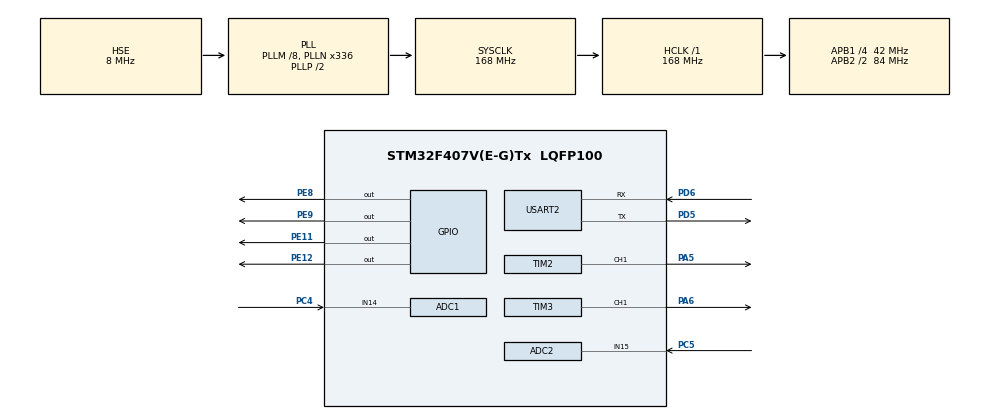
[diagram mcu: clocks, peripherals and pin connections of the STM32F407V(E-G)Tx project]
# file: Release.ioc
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ADC1.Channel-0\#ChannelRegularConversion=ADC_CHANNEL_14
ADC1.NbrOfConversionFlag=1
ADC1.Rank-0\#ChannelRegularConversion=1
ADC1.SamplingTime-0\#ChannelRegularConversion=ADC_SAMPLETIME_3CYCLES
ADC1.master=1
ADC2.Channel-0\#ChannelRegularConversion=ADC_CHANNEL_15
ADC2.NbrOfConversionFlag=1
ADC2.Rank-0\#ChannelRegularConversion=1
ADC2.SamplingTime-0\#ChannelRegularConversion=ADC_SAMPLETIME_3CYCLES
Mcu.Family=STM32F4
Mcu.Name=STM32F407V(E-G)Tx
Mcu.Package=LQFP100
NVIC.ADC_IRQn=true\:0\:0\:false\:false\:true\:true\:true\:true
NVIC.PriorityGroup=NVIC_PRIORITYGROUP_4
NVIC.TIM2_IRQn=true\:0\:0\:false\:false\:true\:true\:true\:true
NVIC.TIM3_IRQn=true\:0\:0\:false\:false\:true\:true\:true\:true
NVIC.USART2_IRQn=true\:0\:0\:false\:false\:true\:true\:true\:true
PA5.Signal=S_TIM2_CH1_ETR
PA6.Signal=S_TIM3_CH1
PC4.Signal=ADCx_IN14
PC5.Signal=ADCx_IN15
PD5.Mode=Asynchronous
PD5.Signal=USART2_TX
PD6.Mode=Asynchronous
PD6.Signal=USART2_RX
PE11.GPIO_Speed=GPIO_SPEED_FREQ_VERY_HIGH
PE11.PinState=GPIO_PIN_SET
PE11.Signal=GPIO_Output
PE12.GPIO_Speed=GPIO_SPEED_FREQ_VERY_HIGH
PE12.PinState=GPIO_PIN_SET
PE12.Signal=GPIO_Output
PE8.GPIO_Speed=GPIO_SPEED_FREQ_VERY_HIGH
PE8.PinState=GPIO_PIN_SET
PE8.Signal=GPIO_Output
PE9.GPIO_Speed=GPIO_SPEED_FREQ_VERY_HIGH
PE9.PinState=GPIO_PIN_SET
PE9.Signal=GPIO_Output
PH0-OSC_IN.Mode=HSE-External-Oscillator
PH0-OSC_IN.Signal=RCC_OSC_IN
PH1-OSC_OUT.Mode=HSE-External-Oscillator
PH1-OSC_OUT.Signal=RCC_OSC_OUT
ProjectManager.HeapSize=0x200
ProjectManager.StackSize=0x400
ProjectManager.TargetToolchain=STM32CubeIDE
RCC.48MHZClocksFreq_Value=84000000
RCC.AHBFreq_Value=168000000
RCC.APB1CLKDivider=RCC_HCLK_DIV4
RCC.APB1Freq_Value=42000000
RCC.APB1TimFreq_Value=84000000
RCC.APB2CLKDivider=RCC_HCLK_DIV2
RCC.APB2Freq_Value=84000000
RCC.APB2TimFreq_Value=168000000
RCC.CortexFreq_Value=168000000
RCC.HCLKFreq_Value=168000000
RCC.HSE_VALUE=8000000
RCC.HSI_VALUE=16000000
RCC.LSE_VALUE=32768
RCC.PLLM=8
RCC.PLLN=336
RCC.PLLSourceVirtual=RCC_PLLSOURCE_HSE
RCC.SYSCLKFreq_VALUE=168000000
RCC.SYSCLKSource=RCC_SYSCLKSOURCE_PLLCLK
RCC.VCOOutputFreq_Value=336000000
SH.ADCx_IN14.0=ADC1_IN14,IN14
SH.ADCx_IN15.0=ADC2_IN15,IN15
SH.S_TIM2_CH1_ETR.0=TIM2_CH1,PWM Generation1 CH1
SH.S_TIM3_CH1.0=TIM3_CH1,PWM Generation1 CH1
TIM2.AutoReloadPreload=TIM_AUTORELOAD_PRELOAD_ENABLE
TIM2.Channel-PWM\ Generation1\ CH1=TIM_CHANNEL_1
TIM2.Period=999
TIM2.Prescaler=999
TIM2.Pulse-PWM\ Generation1\ CH1=500
TIM3.AutoReloadPreload=TIM_AUTORELOAD_PRELOAD_ENABLE
TIM3.Channel-PWM\ Generation1\ CH1=TIM_CHANNEL_1
TIM3.Period=999
TIM3.Prescaler=1
TIM3.Pulse-PWM\ Generation1\ CH1=500
USART2.VirtualMode=VM_ASYNC
board=custom

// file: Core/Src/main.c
/* USER CODE BEGIN Header */
/**
  ******************************************************************************
  * @file           : main.c
  * @brief          : Main program body
  ******************************************************************************
  * @attention
  *
  * Copyright (c) 2025 STMicroelectronics.
  * All rights reserved.
  *
  * This software is licensed under terms that can be found in the LICENSE file
  * in the root directory of this software component.
  * If no LICENSE file comes with this software, it is provided AS-IS.
  *
  ******************************************************************************
  */
/* USER CODE END Header */
#include "main.h"

/* USER CODE BEGIN Includes */
#include <stdbool.h>
/* USER CODE END Includes */

/* USER CODE BEGIN PD */
#define Left GPIO_PIN_SET
#define Right GPIO_PIN_RESET

#define Up GPIO_PIN_SET
#define Down GPIO_PIN_RESET

#define Work GPIO_PIN_RESET
#define Sleep GPIO_PIN_SET
/* USER CODE END PD */

ADC_HandleTypeDef hadc1;
ADC_HandleTypeDef hadc2;

TIM_HandleTypeDef htim2;
TIM_HandleTypeDef htim3;

UART_HandleTypeDef huart2;

/* USER CODE BEGIN PV */
char rx_data[23], tx_data[14];

float def_az, def_el;
float angullar_az, angullar_el;

unsigned int raw_az, raw_el;
unsigned int Frequency_az, Frequency_el;

unsigned char Moving_az, Moving_el;

Motor Motor_AZ, Motor_EL;

Target_data Target;

size_t Size_Rx_UART;
size_t Size_Tx_UART;
/* USER CODE END PV */

void SystemClock_Config(void);
static void MX_GPIO_Init(void);
static void MX_ADC1_Init(void);
static void MX_ADC2_Init(void);
static void MX_USART2_UART_Init(void);
static void MX_TIM2_Init(void);
static void MX_TIM3_Init(void);

/* USER CODE BEGIN 0 */
void HAL_UART_RxCpltCallback(UART_HandleTypeDef *huart) // 0.595 мкс
{
    if (Target.Rx_data[19] != '\0')
    {
        HAL_UART_Receive_IT(&huart2, (uint8_t*)Target.Rx_data, Size_Rx_UART);
        return;
    };

    Motor_AZ.Status.Angular =
        (Target.Rx_data[3] - '0') * 100 +  // сотни
        (Target.Rx_data[4] - '0') * 10 +   // десятки
        (Target.Rx_data[5] - '0') +        // единицы
        (Target.Rx_data[6] - '0') * 0.1f;  // десятые
    if (Target.Rx_data[2] == '-') Motor_AZ.Status.Angular *= -1;

    Motor_EL.Status.Angular =
        (Target.Rx_data[10] - '0') * 100 +
        (Target.Rx_data[11] - '0') * 10 +
        (Target.Rx_data[12] - '0') +
        (Target.Rx_data[14] - '0') * 0.1f;
    if (Target.Rx_data[9] == '-') Motor_EL.Status.Angular *= -1;

    HAL_UART_Receive_IT(&huart2, (uint8_t*)Target.Rx_data, Size_Rx_UART);
}

void Read_AD_Conversion(Motor *Motor_xx) // 2.02 мкс
{
	ADC_HandleTypeDef* hadc = Motor_xx->Config.Convertor.Convertor;
	Status* status = &Motor_xx->Status;
	const Config* config = &Motor_xx->Config;
	const float alfa = config->Alfa;
	const float one_minus_alfa = 1.0f - alfa;

	HAL_ADC_Start(hadc);
	if (HAL_ADC_PollForConversion(hadc, 100) != HAL_OK)
	{
		HAL_ADC_Stop(hadc);
		return;
	};

	const uint32_t raw_value = HAL_ADC_GetValue(hadc);
	HAL_ADC_Stop(hadc);

	const int32_t min_discrete = config->Convertor.Minimum_discrete_level;
	const int32_t max_discrete = config->Convertor.Maximum_discrete_level;
	const float min_angular = config->Angular.Minimum_angular;
	const float max_angular = config->Angular.Maximum_angular;

	const float filtered_discrete = alfa * (float)raw_value + one_minus_alfa * status->filtered_Discrete_level;
	status->filtered_Discrete_level = filtered_discrete;
	status->Discrete_level = filtered_discrete;

	float norma = 0.0f;
	const int32_t discrete_range = max_discrete - min_discrete;

	if (discrete_range > 0)
	{
		norma = (float)((int32_t)filtered_discrete - min_discrete) * config->Convertor.Inv_discrete_range;
		norma = (norma < 0.0f) ? 0.0f : (norma > 1.0f) ? 1.0f : norma;
	}

	const float angular = min_angular + norma * (max_angular - min_angular);
	const float filtered_angular = alfa * angular + one_minus_alfa * status->filter_Angular;

	status->filter_Angular = filtered_angular;
	status->Angular = filtered_angular;
};

__attribute__((always_inline)) inline char Working_area(Motor *Motor_xx) // 0.31 мкс
{
    register const float a = Motor_xx->Status.Angular;
    register const float* c = &Motor_xx->Config.Angular.Minimum_angular;
    register const float lower = c[0] + c[3];
    register const float upper = c[1] - c[3];
    return (a > lower) & (a < upper);
};

void Transmet_computer(void)
{
    const int32_t az_tenths = (int32_t)(Motor_AZ.Status.Angular * 10.0f);
    const uint16_t az_abs = (az_tenths < 0) ? -az_tenths : az_tenths;

    Target.Tx_data[1] = '1' - (az_tenths >> 31);
    Target.Tx_data[2] = '0' + (az_abs / 1000);
    Target.Tx_data[3] = '0' + (az_abs % 1000 / 100);
    Target.Tx_data[4] = '0' + (az_abs % 100 / 10);
    Target.Tx_data[5] = '0' + (az_abs % 10);

    const int32_t el_tenths = (int32_t)(Motor_EL.Status.Angular * 10.0f);
    const uint16_t el_abs = (el_tenths < 0) ? -el_tenths : el_tenths;

    Target.Tx_data[6] = '1' - (el_tenths >> 31);
    Target.Tx_data[7] = '0' + (el_abs / 1000);
    Target.Tx_data[8] = '0' + (el_abs % 1000 / 100);
    Target.Tx_data[9] = '0' + (el_abs % 100 / 10);
    Target.Tx_data[10] = '0' + (el_abs % 10);

    HAL_UART_Transmit(&huart2, (uint8_t*)Target.Tx_data, 13, 100);
}

void Set_PWM_Frequency(Motor *Motor_xx, uint32_t freq)
{
	if(Motor_xx == NULL || Motor_xx->Config.PWM.Timer == NULL)
	{
		return;
	}
	else
	{
		freq = CLAMP(freq, Motor_xx->Config.PWM.Minimum_frequency, Motor_xx->Config.PWM.Maximum_frequency);

		uint32_t prescaler = 0;
		uint32_t period = (HAL_RCC_GetPCLK1Freq() * 2 / freq) - 1;

		while (period > 0xFFFF)
		{
			prescaler++;
			period = (HAL_RCC_GetPCLK1Freq() * 2 / (freq * (prescaler + 1))) - 1;
		}

		HAL_TIM_PWM_Stop(Motor_xx->Config.PWM.Timer, TIM_CHANNEL_1);
		Motor_xx->Config.PWM.Timer->Instance->PSC = prescaler;
		Motor_xx->Config.PWM.Timer->Instance->ARR = period;
		Motor_xx->Config.PWM.Timer->Instance->CCR1 = period / 2;
		HAL_TIM_PWM_Start(Motor_xx->Config.PWM.Timer, TIM_CHANNEL_1);
		Motor_xx->Status.Frequency = freq;
	};
};

void Start_motor(Target_data *Target, Motor *Motor_xx)
{
	Motor_xx->Status.Frequency = Motor_xx->Config.PWM.Minimum_frequency;
	Set_PWM_Frequency(Motor_xx, Motor_xx->Status.Frequency);
	HAL_TIM_PWM_Start(Motor_xx->Config.PWM.Timer, TIM_CHANNEL_1);

	GPIO_PinState roter;
	if (Motor_xx->Config.GPIO.DIR_port == Motor_AZ.Config.GPIO.DIR_port && Motor_xx->Config.GPIO.DIR_pin == Motor_AZ.Config.GPIO.DIR_pin)
	{
		roter = (Target->Azimuth_difference > 0) ? Left : Right;
	}
	else
	{
		roter = (Target->Elevation_difference > 0) ? Up : Down;
	};
	HAL_GPIO_WritePin(Motor_xx->Config.GPIO.DIR_port, Motor_xx->Config.GPIO.DIR_pin, roter);

	HAL_GPIO_WritePin(Motor_xx->Config.GPIO.ENA_port, Motor_xx->Config.GPIO.ENA_pin, Work);
	Motor_xx->Status.Moving = 1;
};

void Up_fequency(Motor *Motor_xx)
{
	if (HAL_GetTick() - Motor_xx->Status.Last_freq_update_time >= 100)
	{
		if (Motor_xx->Status.Frequency < Motor_xx->Config.PWM.Maximum_frequency)
		{
			Motor_xx->Status.Frequency += Motor_xx->Config.PWM.Increment_frequency;
			Motor_xx->Status.Frequency = MIN(Motor_xx->Status.Frequency, Motor_xx->Config.PWM.Maximum_frequency);
			Set_PWM_Frequency(Motor_xx, Motor_xx->Status.Frequency);
			Motor_xx->Status.Last_freq_update_time = HAL_GetTick();
		};
	};
};

void Stop_motor(Motor *Motor_xx)
{
	HAL_TIM_PWM_Stop(Motor_xx->Config.PWM.Timer, TIM_CHANNEL_1);
	HAL_GPIO_WritePin(Motor_xx->Config.GPIO.ENA_port, Motor_xx->Config.GPIO.ENA_pin, 1);
	Motor_xx->Status.Moving = 0;
};

void Moving_away_from_borders(Motor *Motor_xx, unsigned int TimeOut)
{
	Motor_xx->Status.Frequency = Motor_xx->Config.PWM.Minimum_frequency;
	Set_PWM_Frequency(Motor_xx, Motor_xx->Status.Frequency);
	HAL_TIM_PWM_Start(&htim3, TIM_CHANNEL_1);

	GPIO_PinState roter;
	if (Motor_xx->Config.GPIO.DIR_port == Motor_AZ.Config.GPIO.DIR_port && Motor_xx->Config.GPIO.DIR_pin == Motor_AZ.Config.GPIO.DIR_pin)
	{
		roter = (Motor_xx->Status.Angular > 0) ? Right : Left;
	}
	else
	{
		roter = (Motor_xx->Status.Angular > 0) ? Down : Up;
	};
	HAL_GPIO_WritePin(Motor_xx->Config.GPIO.DIR_port, Motor_xx->Config.GPIO.DIR_pin, roter);

	HAL_GPIO_WritePin(Motor_xx->Config.GPIO.ENA_port, Motor_xx->Config.GPIO.ENA_pin, Work);
	HAL_Delay(TimeOut);

	HAL_GPIO_WritePin(Motor_xx->Config.GPIO.ENA_port, Motor_xx->Config.GPIO.ENA_pin, Sleep);
};
/* USER CODE END 0 */

int main(void)
{

  /* USER CODE BEGIN 1 */
	/* Turret */
		/* Config */
			/* GPIO */
				Motor_AZ.Config.GPIO.DIR_port = GPIOE; Motor_AZ.Config.GPIO.DIR_pin = GPIO_PIN_8;
				Motor_EL.Config.GPIO.DIR_port = GPIOE; Motor_EL.Config.GPIO.DIR_pin = GPIO_PIN_9;

				Motor_AZ.Config.GPIO.ENA_port = GPIOE; Motor_AZ.Config.GPIO.ENA_pin = GPIO_PIN_11;
				Motor_EL.Config.GPIO.ENA_port = GPIOE; Motor_EL.Config.GPIO.ENA_pin = GPIO_PIN_12;

			/* PWM */
				Motor_AZ.Config.PWM.Timer = &htim3;
				Motor_EL.Config.PWM.Timer = &htim2;

				Motor_AZ.Config.PWM.Maximum_frequency = 200000; Motor_AZ.Config.PWM.Minimum_frequency = 20000; Motor_AZ.Config.PWM.Increment_frequency = 10000;
				Motor_EL.Config.PWM.Maximum_frequency = 200000; Motor_EL.Config.PWM.Minimum_frequency = 20000; Motor_EL.Config.PWM.Increment_frequency = 10000;

			/* Convertor */
				Motor_AZ.Config.Convertor.Convertor = &hadc1;
				Motor_EL.Config.Convertor.Convertor = &hadc2;

				Motor_AZ.Config.Convertor.Maximum_discrete_level = 2150; Motor_AZ.Config.Convertor.Minimum_discrete_level = 1550; Motor_AZ.Config.Convertor.Middle_discrete_level = 1850;
				Motor_EL.Config.Convertor.Maximum_discrete_level = 2150; Motor_EL.Config.Convertor.Minimum_discrete_level = 2050; Motor_EL.Config.Convertor.Middle_discrete_level = 2100;

				Motor_AZ.Config.Convertor.Inv_discrete_range = 1.0f / (Motor_AZ.Config.Convertor.Maximum_discrete_level - Motor_AZ.Config.Convertor.Minimum_discrete_level);
				Motor_EL.Config.Convertor.Inv_discrete_range = 1.0f / (Motor_EL.Config.Convertor.Maximum_discrete_level - Motor_EL.Config.Convertor.Minimum_discrete_level);
			/* Angular */
				Motor_AZ.Config.Angular.Maximum_angular = 270.0f; Motor_AZ.Config.Angular.Minimum_angular = -270.0f;
				Motor_EL.Config.Angular.Maximum_angular = 90.0f; Motor_EL.Config.Angular.Minimum_angular = -20.0f;

				Motor_AZ.Config.Angular.Deviation = 50.0f; Motor_AZ.Config.Angular.Guidance_accuracy = 1.0f;
				Motor_EL.Config.Angular.Deviation = 5.0f; Motor_EL.Config.Angular.Guidance_accuracy = 1.0f;

			/* Alfa */
				Motor_AZ.Config.Alfa = 0.2f;
				Motor_EL.Config.Alfa = 0.2f;

		/* Status */
			Motor_AZ.Status.Angular = 0.0f; Motor_AZ.Status.filter_Angular = 0.0f;
			Motor_EL.Status.Angular = 0.0f; Motor_EL.Status.filter_Angular = 0.0f;

			Motor_AZ.Status.Discrete_level = 1550; Motor_AZ.Status.filtered_Discrete_level = 1550;
			Motor_EL.Status.Discrete_level = 1550; Motor_EL.Status.filtered_Discrete_level = 1550;

			Motor_AZ.Status.Frequency = 20000;
			Motor_EL.Status.Frequency = 20000;

			Motor_AZ.Status.Moving = 0;
			Motor_EL.Status.Moving = 0;

	/* Raspberry Pi */
		Target.Rx_data[0] = 'A'; Target.Rx_data[1] = 'z';
		Target.Rx_data[2] = '+'; 	Target.Rx_data[3] = '0';  Target.Rx_data[4] = '0';  Target.Rx_data[5] = '0';  /* , */ ; Target.Rx_data[6] = '0';

		Target.Rx_data[7] = 'E'; Target.Rx_data[8] = 'l';
		Target.Rx_data[9] = '-'; 	Target.Rx_data[10] = '0'; Target.Rx_data[11] = '0'; Target.Rx_data[12] = '0'; /* , */ ; Target.Rx_data[13] = '0';

		Target.Rx_data[14] = 'F'; Target.Rx_data[15] = 'm';
		Target.Rx_data[16] = '9';

		Target.Rx_data[17] = '\r'; Target.Rx_data[18] = '\n'; Target.Rx_data[19] = '\0';

		Target.Tx_data[0] = 'T';
		Target.Tx_data[11] = '\r';
		Target.Tx_data[12] = '\n';

	Size_Rx_UART = sizeof(Target.Rx_data);
	Size_Tx_UART = sizeof(Target.Tx_data);
  /* USER CODE END 1 */

  /* MCU Configuration--------------------------------------------------------*/

  /* Reset of all peripherals, Initializes the Flash interface and the Systick. */
  HAL_Init();

  /* Configure the system clock */
  SystemClock_Config();

  /* Initialize all configured peripherals */
  MX_GPIO_Init();
  MX_ADC1_Init();
  MX_ADC2_Init();
  MX_USART2_UART_Init();
  MX_TIM2_Init();
  MX_TIM3_Init();
  /* USER CODE BEGIN 2 */
  HAL_UART_Receive_IT(&huart2, (uint8_t*)Target.Rx_data, Size_Rx_UART);
  /* USER CODE END 2 */

  /* Infinite loop */
  /* USER CODE BEGIN WHILE */
  while (1)
  {
	  Read_AD_Conversion(&Motor_AZ);
	  Read_AD_Conversion(&Motor_EL);

	  if (Working_area(&Motor_AZ))
	  {
		  if (fabsf(Target.Azimuth_difference) > Motor_AZ.Config.Angular.Guidance_accuracy)
		  {
			  if (!Motor_AZ.Status.Moving)
			  {
				  Start_motor(&Target, &Motor_AZ);
			  }
			  else
			  {
				  Up_fequency(&Motor_AZ);
			  }
		  }
		  else if (fabsf(Target.Azimuth_difference) > 0)
		  {
			  // Сопровождение_цели
		  }
		  else
		  {
			  Stop_motor(&Motor_AZ);
			  // Поведение_не_определено
		  };

	  }
	  else
	  {
		  Stop_motor(&Motor_AZ);
		  Moving_away_from_borders(&Motor_AZ, 1000);
	  };

	  if (Working_area(&Motor_EL))
	  {
		  if (fabsf(Target.Elevation_difference) > Motor_EL.Config.Angular.Guidance_accuracy)
		  {
			  if (!Motor_EL.Status.Moving)
			  {
				  Start_motor(&Target, &Motor_EL);
			  }
			  else
			  {
				  Up_fequency(&Motor_EL);
			  };
		  }
		  else if (fabsf(Target.Elevation_difference) > 0)
		  {

			  // Сопровождение_цели
		  }
		  else
		  {
			  Stop_motor(&Motor_EL);
			  // Поведение_не_определено
		  };
	  }
	  else
	  {
		  Stop_motor(&Motor_EL);
		  Moving_away_from_borders(&Motor_EL, 100);
	  };

	  Transmet_computer();
    /* USER CODE END WHILE */

  }
}

void SystemClock_Config(void)
{
  RCC_OscInitTypeDef RCC_OscInitStruct = {0};
  RCC_ClkInitTypeDef RCC_ClkInitStruct = {0};

  /** Configure the main internal regulator output voltage
  */
  __HAL_RCC_PWR_CLK_ENABLE();
  __HAL_PWR_VOLTAGESCALING_CONFIG(PWR_REGULATOR_VOLTAGE_SCALE1);

  /** Initializes the RCC Oscillators according to the specified parameters
  * in the RCC_OscInitTypeDef structure.
  */
  RCC_OscInitStruct.OscillatorType = RCC_OSCILLATORTYPE_HSE;
  RCC_OscInitStruct.HSEState = RCC_HSE_ON;
  RCC_OscInitStruct.PLL.PLLState = RCC_PLL_ON;
  RCC_OscInitStruct.PLL.PLLSource = RCC_PLLSOURCE_HSE;
  RCC_OscInitStruct.PLL.PLLM = 8;
  RCC_OscInitStruct.PLL.PLLN = 336;
  RCC_OscInitStruct.PLL.PLLP = RCC_PLLP_DIV2;
  RCC_OscInitStruct.PLL.PLLQ = 4;
  if (HAL_RCC_OscConfig(&RCC_OscInitStruct) != HAL_OK)
  {
    Error_Handler();
  }

  /** Initializes the CPU, AHB and APB buses clocks
  */
  RCC_ClkInitStruct.ClockType = RCC_CLOCKTYPE_HCLK|RCC_CLOCKTYPE_SYSCLK
                              |RCC_CLOCKTYPE_PCLK1|RCC_CLOCKTYPE_PCLK2;
  RCC_ClkInitStruct.SYSCLKSource = RCC_SYSCLKSOURCE_PLLCLK;
  RCC_ClkInitStruct.AHBCLKDivider = RCC_SYSCLK_DIV1;
  RCC_ClkInitStruct.APB1CLKDivider = RCC_HCLK_DIV4;
  RCC_ClkInitStruct.APB2CLKDivider = RCC_HCLK_DIV2;

  if (HAL_RCC_ClockConfig(&RCC_ClkInitStruct, FLASH_LATENCY_5) != HAL_OK)
  {
    Error_Handler();
  }
}

static void MX_ADC1_Init(void)
{

  ADC_ChannelConfTypeDef sConfig = {0};

  /** Configure the global features of the ADC (Clock, Resolution, Data Alignment and number of conversion)
  */
  hadc1.Instance = ADC1;
  hadc1.Init.ClockPrescaler = ADC_CLOCK_SYNC_PCLK_DIV4;
  hadc1.Init.Resolution = ADC_RESOLUTION_12B;
  hadc1.Init.ScanConvMode = DISABLE;
  hadc1.Init.ContinuousConvMode = DISABLE;
  hadc1.Init.DiscontinuousConvMode = DISABLE;
  hadc1.Init.ExternalTrigConvEdge = ADC_EXTERNALTRIGCONVEDGE_NONE;
  hadc1.Init.ExternalTrigConv = ADC_SOFTWARE_START;
  hadc1.Init.DataAlign = ADC_DATAALIGN_RIGHT;
  hadc1.Init.NbrOfConversion = 1;
  hadc1.Init.DMAContinuousRequests = DISABLE;
  hadc1.Init.EOCSelection = ADC_EOC_SINGLE_CONV;
  if (HAL_ADC_Init(&hadc1) != HAL_OK)
  {
    Error_Handler();
  }

  /** Configure for the selected ADC regular channel its corresponding rank in the sequencer and its sample time.
  */
  sConfig.Channel = ADC_CHANNEL_14;
  sConfig.Rank = 1;
  sConfig.SamplingTime = ADC_SAMPLETIME_3CYCLES;
  if (HAL_ADC_ConfigChannel(&hadc1, &sConfig) != HAL_OK)
  {
    Error_Handler();
  }

}

static void MX_ADC2_Init(void)
{

  ADC_ChannelConfTypeDef sConfig = {0};

  /** Configure the global features of the ADC (Clock, Resolution, Data Alignment and number of conversion)
  */
  hadc2.Instance = ADC2;
  hadc2.Init.ClockPrescaler = ADC_CLOCK_SYNC_PCLK_DIV4;
  hadc2.Init.Resolution = ADC_RESOLUTION_12B;
  hadc2.Init.ScanConvMode = DISABLE;
  hadc2.Init.ContinuousConvMode = DISABLE;
  hadc2.Init.DiscontinuousConvMode = DISABLE;
  hadc2.Init.ExternalTrigConvEdge = ADC_EXTERNALTRIGCONVEDGE_NONE;
  hadc2.Init.ExternalTrigConv = ADC_SOFTWARE_START;
  hadc2.Init.DataAlign = ADC_DATAALIGN_RIGHT;
  hadc2.Init.NbrOfConversion = 1;
  hadc2.Init.DMAContinuousRequests = DISABLE;
  hadc2.Init.EOCSelection = ADC_EOC_SINGLE_CONV;
  if (HAL_ADC_Init(&hadc2) != HAL_OK)
  {
    Error_Handler();
  }

  /** Configure for the selected ADC regular channel its corresponding rank in the sequencer and its sample time.
  */
  sConfig.Channel = ADC_CHANNEL_15;
  sConfig.Rank = 1;
  sConfig.SamplingTime = ADC_SAMPLETIME_3CYCLES;
  if (HAL_ADC_ConfigChannel(&hadc2, &sConfig) != HAL_OK)
  {
    Error_Handler();
  }

}

static void MX_TIM2_Init(void)
{

  TIM_MasterConfigTypeDef sMasterConfig = {0};
  TIM_OC_InitTypeDef sConfigOC = {0};

  htim2.Instance = TIM2;
  htim2.Init.Prescaler = 999;
  htim2.Init.CounterMode = TIM_COUNTERMODE_UP;
  htim2.Init.Period = 999;
  htim2.Init.ClockDivision = TIM_CLOCKDIVISION_DIV1;
  htim2.Init.AutoReloadPreload = TIM_AUTORELOAD_PRELOAD_ENABLE;
  if (HAL_TIM_PWM_Init(&htim2) != HAL_OK)
  {
    Error_Handler();
  }
  sMasterConfig.MasterOutputTrigger = TIM_TRGO_RESET;
  sMasterConfig.MasterSlaveMode = TIM_MASTERSLAVEMODE_DISABLE;
  if (HAL_TIMEx_MasterConfigSynchronization(&htim2, &sMasterConfig) != HAL_OK)
  {
    Error_Handler();
  }
  sConfigOC.OCMode = TIM_OCMODE_PWM1;
  sConfigOC.Pulse = 500;
  sConfigOC.OCPolarity = TIM_OCPOLARITY_HIGH;
  sConfigOC.OCFastMode = TIM_OCFAST_DISABLE;
  if (HAL_TIM_PWM_ConfigChannel(&htim2, &sConfigOC, TIM_CHANNEL_1) != HAL_OK)
  {
    Error_Handler();
  }
  HAL_TIM_MspPostInit(&htim2);

}

static void MX_TIM3_Init(void)
{

  TIM_MasterConfigTypeDef sMasterConfig = {0};
  TIM_OC_InitTypeDef sConfigOC = {0};

  htim3.Instance = TIM3;
  htim3.Init.Prescaler = 1;
  htim3.Init.CounterMode = TIM_COUNTERMODE_UP;
  htim3.Init.Period = 999;
  htim3.Init.ClockDivision = TIM_CLOCKDIVISION_DIV1;
  htim3.Init.AutoReloadPreload = TIM_AUTORELOAD_PRELOAD_ENABLE;
  if (HAL_TIM_PWM_Init(&htim3) != HAL_OK)
  {
    Error_Handler();
  }
  sMasterConfig.MasterOutputTrigger = TIM_TRGO_RESET;
  sMasterConfig.MasterSlaveMode = TIM_MASTERSLAVEMODE_DISABLE;
  if (HAL_TIMEx_MasterConfigSynchronization(&htim3, &sMasterConfig) != HAL_OK)
  {
    Error_Handler();
  }
  sConfigOC.OCMode = TIM_OCMODE_PWM1;
  sConfigOC.Pulse = 500;
  sConfigOC.OCPolarity = TIM_OCPOLARITY_HIGH;
  sConfigOC.OCFastMode = TIM_OCFAST_DISABLE;
  if (HAL_TIM_PWM_ConfigChannel(&htim3, &sConfigOC, TIM_CHANNEL_1) != HAL_OK)
  {
    Error_Handler();
  }
  HAL_TIM_MspPostInit(&htim3);

}

static void MX_USART2_UART_Init(void)
{

  huart2.Instance = USART2;
  huart2.Init.BaudRate = 115200;
  huart2.Init.WordLength = UART_WORDLENGTH_8B;
  huart2.Init.StopBits = UART_STOPBITS_1;
  huart2.Init.Parity = UART_PARITY_NONE;
  huart2.Init.Mode = UART_MODE_TX_RX;
  huart2.Init.HwFlowCtl = UART_HWCONTROL_NONE;
  huart2.Init.OverSampling = UART_OVERSAMPLING_16;
  if (HAL_UART_Init(&huart2) != HAL_OK)
  {
    Error_Handler();
  }

}

static void MX_GPIO_Init(void)
{
  GPIO_InitTypeDef GPIO_InitStruct = {0};

  /* GPIO Ports Clock Enable */
  __HAL_RCC_GPIOH_CLK_ENABLE();
  __HAL_RCC_GPIOA_CLK_ENABLE();
  __HAL_RCC_GPIOC_CLK_ENABLE();
  __HAL_RCC_GPIOE_CLK_ENABLE();
  __HAL_RCC_GPIOD_CLK_ENABLE();

  /*Configure GPIO pin Output Level */
  HAL_GPIO_WritePin(GPIOE, GPIO_PIN_8|GPIO_PIN_9|GPIO_PIN_11|GPIO_PIN_12, GPIO_PIN_SET);

  /*Configure GPIO pins : PE8 PE9 PE11 PE12 */
  GPIO_InitStruct.Pin = GPIO_PIN_8|GPIO_PIN_9|GPIO_PIN_11|GPIO_PIN_12;
  GPIO_InitStruct.Mode = GPIO_MODE_OUTPUT_PP;
  GPIO_InitStruct.Pull = GPIO_NOPULL;
  GPIO_InitStruct.Speed = GPIO_SPEED_FREQ_VERY_HIGH;
  HAL_GPIO_Init(GPIOE, &GPIO_InitStruct);

}

void Error_Handler(void)
{
  /* USER CODE BEGIN Error_Handler_Debug */
  /* User can add his own implementation to report the HAL error return state */
	//HAL_UART_Transmit(&huart2, (uint8_t*)message, strlen(message), 100);
	__disable_irq();
	while (1)
	{

	}
  /* USER CODE END Error_Handler_Debug */
}
